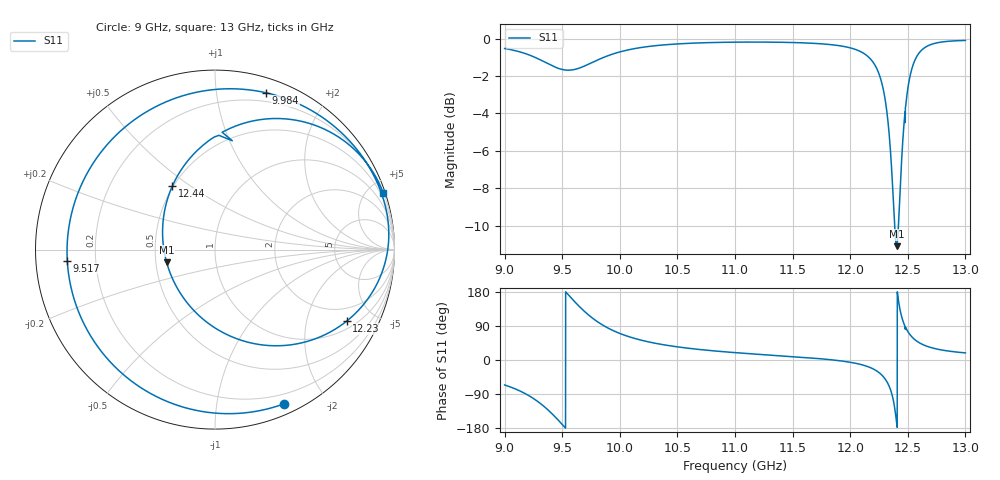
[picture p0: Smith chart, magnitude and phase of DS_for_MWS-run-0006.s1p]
! TOUCHSTONE file generated by CST DESIGN STUDIO
! Date and time: Tue Feb  4 16:38:40 2025
! Project name: C:\Work\MatlabApps\UnitCellOptimizationMatlab\CST\unitcell.cst
! Tree item: Tasks\Sweep1\SPara1\S-Parameters
! Header version: 2024
! Port assignment regex: !\s*Touchstone port\s*([0-9]+)\s*=\s*(CST MWS port|CST DES external port|CST DES block port)\s*(.+)\s* \(\"(.*)\"\)(\s*mode\s*([0-9]+))?.*
! Touchstone port assignment:
! Touchstone port 1 = CST DES external port 1 ("")
# GHz S MA R 50
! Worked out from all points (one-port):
!   4001 points, 9 GHz to 13 GHz, reference 50 ohm
!   lowest |S11| = -11.1 dB at 12.4 GHz (marker M1), VSWR 1.77, Z = 28.5 - j4.39 ohm
!   |S11| at or under -10 dB: 12.38573 GHz to 12.41891 GHz (33.19 MHz wide, 0.268 % of centre)
!   S11 on the Smith chart (normalised r, x): 9 GHz: 0.10, -1.54; 9.517 GHz: 0.10, -0.04; 9.984 GHz: 0.12, +1.37; 12.23 GHz: 1.32, -3.48; 12.44 GHz: 0.49, +0.43; 13 GHz: 0.20, +6.06
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9  0.9415 -65.9
9.172  0.9141 -87.6
9.289  0.8841 -109.8
9.391  0.8528 -135.8
9.5  0.8273 -170.0
9.517  0.8253 -175.7
9.61  0.8277 153.3
9.733  0.8559 117.7
9.842  0.8866 93.9
9.984  0.9188 72.0
10  0.9218 70.1
10.215  0.9501 50.1
10.5  0.9683 34.7
11  0.9789 19.4
11.5  0.9767 8.9
12  0.9452 -6.0
12.138  0.9046 -15.9
12.228  0.8352 -28.5
12.286  0.7349 -43.5
12.337  0.5614 -68.3
12.37  0.3926 -99.9
12.403  0.2787 -165.2
12.439  0.4268 123.8
12.469  0.6008 94.3
12.5  0.7348 75.4
12.569  0.8857 51.8
12.656  0.9503 37.4
13  0.9892 18.7
